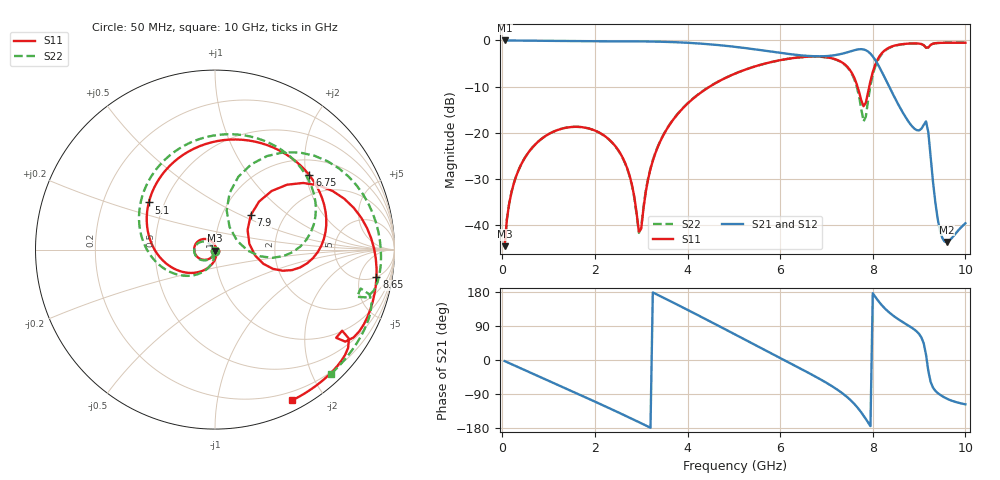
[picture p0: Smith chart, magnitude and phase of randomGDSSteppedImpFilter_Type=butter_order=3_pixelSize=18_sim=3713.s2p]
! freq	dB(S11)	phase(S11)	dB(S12)	phase(S12)
!  dB(S21)	phase(S21)	dB(S22)	phase(S22)
!S-par simulation data
#  GHz  S  DB  R 50
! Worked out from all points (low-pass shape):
!   200 points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, 50 MHz to 10 GHz, reference 50 ohm
!   highest |S21| = -0.01 dB at 50 MHz (marker M1); lowest = -43.6 dB at 9.6 GHz (marker M2)
!   |S21| within 3 dB of the highest: start of sweep to 6.246 GHz; 7.282 GHz to 7.962 GHz (679.5 MHz wide, 8.91 % of centre)
!   lowest |S11| = -44.5 dB at 50 MHz (marker M3), VSWR 1.01, Z = 50 - j0.593 ohm
!   |S11| at or under -10 dB: start of sweep to 4.478 GHz; 7.669 GHz to 7.925 GHz (255.2 MHz wide, 3.27 % of centre)
!   |S22| runs from -44.5 to -0.5 dB; largest |S21 - S12| = 0
!   S11 on the Smith chart (normalised r, x): 50 MHz: 1.00, -0.01; 5.1 GHz: 0.41, +0.27; 6.75 GHz: 1.39, +2.09; 7.9 GHz: 1.36, +0.57; 8.65 GHz: 5, -9; 10 GHz: 0.11, -1.63
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0.05  -44.54 -91.1  -0.01 -2.8  -0.01 -2.8  -44.54 -91.0
0.2  -32.80 -100.9  -0.02 -11.1  -0.02 -11.1  -32.80 -100.2
0.5  -25.20 -118.7  -0.05 -27.5  -0.05 -27.5  -25.20 -117.0
1.75  -18.81 169.5  -0.17 -96.0  -0.17 -96.0  -18.82 176.6
2.6  -25.40 115.2  -0.19 -143.7  -0.19 -143.7  -25.47 135.3
2.95  -41.41 34.5  -0.20 -164.0  -0.20 -164.0  -41.67 179.1
3.4  -22.09 -100.1  -0.28 169.2  -0.28 169.2  -22.00 -103.6
4.3  -11.19 -162.1  -0.70 113.6  -0.70 113.6  -11.16 -152.9
5.05  -7.08 147.9  -1.41 65.9  -1.41 65.9  -7.07 162.0
5.1  -6.88 144.6  -1.47 62.7  -1.47 62.7  -6.87 159.0
5.85  -4.58 95.3  -2.48 14.8  -2.48 14.8  -4.59 112.7
6.7  -3.49 41.4  -3.41 -39.7  -3.41 -39.7  -3.51 59.6
6.75  -3.49 38.3  -3.43 -43.0  -3.43 -43.0  -3.50 56.4
7.55  -7.07 -15.0  -2.28 -109.4  -2.28 -109.4  -7.27 -1.9
7.8  -14.24 9.3  -1.95 -146.6  -1.95 -146.6  -17.54 21.4
7.9  -11.16 43.9  -2.42 -165.0  -2.42 -165.0  -12.85 73.4
8.35  -1.57 12.2  -9.91 126.0  -9.91 126.0  -1.66 33.2
8.65  -0.79 -9.7  -15.64 99.8  -15.64 99.8  -0.83 9.7
9.15  -1.57 -36.0  -17.52 14.0  -17.52 14.0  -1.58 -18.4
9.4  -0.56 -41.4  -38.54 -86.9  -38.54 -86.9  -0.54 -24.3
9.6  -0.50 -49.4  -43.62 -102.0  -43.62 -102.0  -0.48 -32.8
10  -0.51 -63.0  -39.58 -117.0  -39.58 -117.0  -0.47 -47.1
